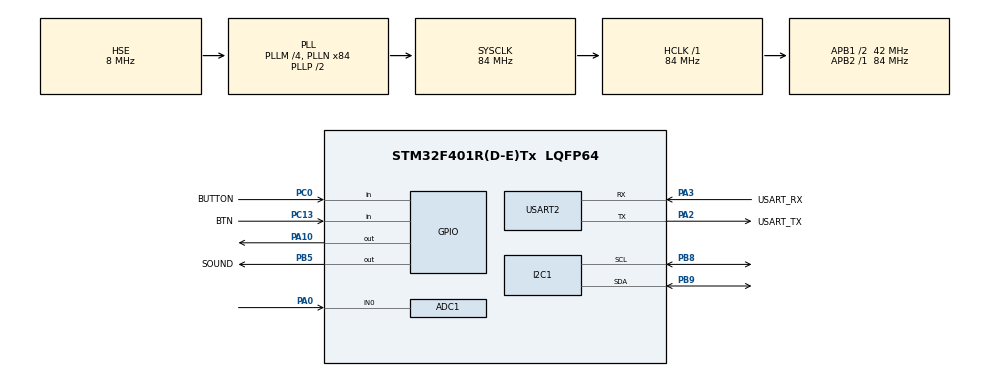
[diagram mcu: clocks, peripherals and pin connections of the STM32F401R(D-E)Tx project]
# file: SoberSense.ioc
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ADC1.ContinuousConvMode=ENABLE
ADC1.NbrOfConversionFlag=1
ADC1.master=1
Mcu.Family=STM32F4
Mcu.Name=STM32F401R(D-E)Tx
Mcu.Package=LQFP64
NVIC.PriorityGroup=NVIC_PRIORITYGROUP_0
PA0-WKUP.Signal=ADCx_IN0
PA10.Signal=GPIO_Output
PA13.GPIO_Label=TMS
PA13.Mode=Serial_Wire
PA13.Signal=SYS_JTMS-SWDIO
PA14.GPIO_Label=TCK
PA14.Mode=Serial_Wire
PA14.Signal=SYS_JTCK-SWCLK
PA2.GPIO_Label=USART_TX
PA2.GPIO_Mode=GPIO_MODE_AF_PP
PA2.GPIO_PuPd=GPIO_NOPULL
PA2.GPIO_Speed=GPIO_SPEED_FREQ_LOW
PA2.Mode=Asynchronous
PA2.Signal=USART2_TX
PA3.GPIO_Label=USART_RX
PA3.GPIO_Mode=GPIO_MODE_AF_PP
PA3.GPIO_PuPd=GPIO_NOPULL
PA3.GPIO_Speed=GPIO_SPEED_FREQ_LOW
PA3.Mode=Asynchronous
PA3.Signal=USART2_RX
PB3.GPIO_Label=SWO
PB3.Signal=SYS_JTDO-SWO
PB5.GPIO_Label=SOUND
PB5.Signal=GPIO_Output
PB8.Mode=I2C
PB8.Signal=I2C1_SCL
PB9.Mode=I2C
PB9.Signal=I2C1_SDA
PC0.GPIO_Label=BUTTON
PC0.Signal=GPIO_Input
PC13-ANTI_TAMP.GPIO_Label=BTN
PC13-ANTI_TAMP.GPIO_PuPd=GPIO_PULLDOWN
PC13-ANTI_TAMP.Signal=GPIO_Input
PC14-OSC32_IN.Signal=RCC_OSC32_IN
PC15-OSC32_OUT.Signal=RCC_OSC32_OUT
PH0\ -\ OSC_IN.Mode=HSE-External-Clock-Source
PH0\ -\ OSC_IN.Signal=RCC_OSC_IN
PH1\ -\ OSC_OUT.Mode=HSE-External-Clock-Source
PH1\ -\ OSC_OUT.Signal=RCC_OSC_OUT
ProjectManager.HeapSize=0x200
ProjectManager.StackSize=0x400
ProjectManager.TargetToolchain=STM32CubeIDE
RCC.48MHZClocksFreq_Value=24000000
RCC.AHBFreq_Value=84000000
RCC.APB1CLKDivider=RCC_HCLK_DIV2
RCC.APB1Freq_Value=42000000
RCC.APB1TimFreq_Value=84000000
RCC.APB2Freq_Value=84000000
RCC.APB2TimFreq_Value=84000000
RCC.CortexFreq_Value=84000000
RCC.HCLKFreq_Value=84000000
RCC.HSE_VALUE=8000000
RCC.HSI_VALUE=16000000
RCC.LSE_VALUE=32768
RCC.PLLM=4
RCC.PLLN=84
RCC.PLLQ=7
RCC.PLLSourceVirtual=RCC_PLLSOURCE_HSE
RCC.SYSCLKFreq_VALUE=84000000
RCC.SYSCLKSource=RCC_SYSCLKSOURCE_PLLCLK
RCC.VCOOutputFreq_Value=168000000
SH.ADCx_IN0.0=ADC1_IN0,IN0
USART2.VirtualMode=VM_ASYNC
board=NUCLEO-F401RE

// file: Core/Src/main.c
/* USER CODE BEGIN Header */
/**
  ******************************************************************************
  * @file           : main.c
  * @brief          : Main program body
  ******************************************************************************
  * @attention
  *
  * Copyright (c) 2023 STMicroelectronics.
  * All rights reserved.
  *
  * This software is licensed under terms that can be found in the LICENSE file
  * in the root directory of this software component.
  * If no LICENSE file comes with this software, it is provided AS-IS.
  *
  ******************************************************************************
  */
/* USER CODE END Header */
#include "main.h"

ADC_HandleTypeDef hadc1;

I2C_HandleTypeDef hi2c1;

UART_HandleTypeDef huart2;

void SystemClock_Config(void);
static void MX_GPIO_Init(void);
static void MX_USART2_UART_Init(void);
static void MX_ADC1_Init(void);
static void MX_I2C1_Init(void);

int main(void)
{
  /* USER CODE BEGIN 1 */
	uint16_t raw;
	float rs;
	float r0;
	float bac;
	char msg[10];
	char floatString[20];
  /* USER CODE END 1 */

  /* MCU Configuration--------------------------------------------------------*/

  /* Reset of all peripherals, Initializes the Flash interface and the Systick. */
  HAL_Init();

  /* Configure the system clock */
  SystemClock_Config();

  /* Initialize all configured peripherals */
  MX_GPIO_Init();
  MX_USART2_UART_Init();
  MX_ADC1_Init();
  MX_I2C1_Init();
  /* USER CODE BEGIN 2 */
  int pressed = 0;
  HD44780_Init(2);
  HD44780_Clear();
  HD44780_Backlight();
  char snum[5];
  for (int x = 20;x>=1; x--){
      itoa(x, snum, 10);
      HD44780_Clear();
      HD44780_SetCursor(0,0);
      HD44780_PrintStr("Startup: ");
      HD44780_PrintStr(snum);
      HAL_Delay (1000);
    }
  /* USER CODE END 2 */

  /* Infinite loop */
  /* USER CODE BEGIN WHILE */
  while (1)
  {
	 HAL_GPIO_WritePin(GPIOA,GPIO_PIN_10, GPIO_PIN_SET);
	 HAL_ADC_Start(&hadc1);
	 HAL_ADC_PollForConversion(&hadc1, HAL_MAX_DELAY);
	 raw = HAL_ADC_GetValue(&hadc1);
	 if(raw<630){
		 raw = 630;
	 }
	 r0 = 630;
	 float b = raw/r0;
	 HD44780_Clear();
	 HD44780_SetCursor(0,0);
	 HAL_GPIO_WritePin(GPIOA,GPIO_PIN_10, GPIO_PIN_RESET);
	 pressed = HAL_GPIO_ReadPin(BUTTON_GPIO_Port, BUTTON_Pin);
	 bac = (0.09*log(b))/5;
     HD44780_PrintStr("Awaiting... ");
     HAL_Delay(1000);
	 int n = 1;
	 if(pressed){
		 if(n){
			 HAL_GPIO_WritePin(SOUND_GPIO_Port,SOUND_Pin, 1);
			 HAL_Delay(1000);
			 HAL_GPIO_WritePin(SOUND_GPIO_Port,SOUND_Pin, 0);
			 HAL_Delay(1000);
			 char snum[5];
			 		  HD44780_PrintStr("Evaluating...");
			 		  for(int x = 5; x>=1; x--){
			 		      itoa(x, snum, 10);
			 		      HD44780_Clear();
			 		      HD44780_SetCursor(0,0);
			 		      HD44780_PrintStr(snum);
			 		      HAL_Delay (1000);
			 		    }
			 		  n = 0;
		 }

		 sprintf(floatString, "%.3f\r\n", bac);
		 sprintf(floatString, "BAC: %.3f", bac);
		 HD44780_PrintStr(floatString);
		 HAL_UART_Transmit(&huart2, (uint8_t*)floatString, strlen(floatString), HAL_MAX_DELAY);
		 HAL_Delay(5000);
	 }

	 //rs around 36.154 at default

	 //if(btn_state == GPIO_PIN_SET){

	}//else{
		 HD44780_Clear();
	//  Q

    /* USER CODE END WHILE */

  }

void SystemClock_Config(void)
{
  RCC_OscInitTypeDef RCC_OscInitStruct = {0};
  RCC_ClkInitTypeDef RCC_ClkInitStruct = {0};

  /** Configure the main internal regulator output voltage
  */
  __HAL_RCC_PWR_CLK_ENABLE();
  __HAL_PWR_VOLTAGESCALING_CONFIG(PWR_REGULATOR_VOLTAGE_SCALE2);

  /** Initializes the RCC Oscillators according to the specified parameters
  * in the RCC_OscInitTypeDef structure.
  */
  RCC_OscInitStruct.OscillatorType = RCC_OSCILLATORTYPE_HSE;
  RCC_OscInitStruct.HSEState = RCC_HSE_BYPASS;
  RCC_OscInitStruct.PLL.PLLState = RCC_PLL_ON;
  RCC_OscInitStruct.PLL.PLLSource = RCC_PLLSOURCE_HSE;
  RCC_OscInitStruct.PLL.PLLM = 4;
  RCC_OscInitStruct.PLL.PLLN = 84;
  RCC_OscInitStruct.PLL.PLLP = RCC_PLLP_DIV2;
  RCC_OscInitStruct.PLL.PLLQ = 7;
  if (HAL_RCC_OscConfig(&RCC_OscInitStruct) != HAL_OK)
  {
    Error_Handler();
  }

  /** Initializes the CPU, AHB and APB buses clocks
  */
  RCC_ClkInitStruct.ClockType = RCC_CLOCKTYPE_HCLK|RCC_CLOCKTYPE_SYSCLK
                              |RCC_CLOCKTYPE_PCLK1|RCC_CLOCKTYPE_PCLK2;
  RCC_ClkInitStruct.SYSCLKSource = RCC_SYSCLKSOURCE_PLLCLK;
  RCC_ClkInitStruct.AHBCLKDivider = RCC_SYSCLK_DIV1;
  RCC_ClkInitStruct.APB1CLKDivider = RCC_HCLK_DIV2;
  RCC_ClkInitStruct.APB2CLKDivider = RCC_HCLK_DIV1;

  if (HAL_RCC_ClockConfig(&RCC_ClkInitStruct, FLASH_LATENCY_2) != HAL_OK)
  {
    Error_Handler();
  }
}

static void MX_ADC1_Init(void)
{

  /** Configure the global features of the ADC (Clock, Resolution, Data Alignment and number of conversion)
  */
  hadc1.Instance = ADC1;
  hadc1.Init.ClockPrescaler = ADC_CLOCK_SYNC_PCLK_DIV4;
  hadc1.Init.Resolution = ADC_RESOLUTION_12B;
  hadc1.Init.ScanConvMode = DISABLE;
  hadc1.Init.ContinuousConvMode = ENABLE;
  hadc1.Init.DiscontinuousConvMode = DISABLE;
  hadc1.Init.ExternalTrigConvEdge = ADC_EXTERNALTRIGCONVEDGE_NONE;
  hadc1.Init.ExternalTrigConv = ADC_SOFTWARE_START;
  hadc1.Init.DataAlign = ADC_DATAALIGN_RIGHT;
  hadc1.Init.NbrOfConversion = 1;
  hadc1.Init.DMAContinuousRequests = DISABLE;
  hadc1.Init.EOCSelection = ADC_EOC_SINGLE_CONV;
  if (HAL_ADC_Init(&hadc1) != HAL_OK)
  {
    Error_Handler();
  }

}

static void MX_I2C1_Init(void)
{

  hi2c1.Instance = I2C1;
  hi2c1.Init.ClockSpeed = 100000;
  hi2c1.Init.DutyCycle = I2C_DUTYCYCLE_2;
  hi2c1.Init.OwnAddress1 = 0;
  hi2c1.Init.AddressingMode = I2C_ADDRESSINGMODE_7BIT;
  hi2c1.Init.DualAddressMode = I2C_DUALADDRESS_DISABLE;
  hi2c1.Init.OwnAddress2 = 0;
  hi2c1.Init.GeneralCallMode = I2C_GENERALCALL_DISABLE;
  hi2c1.Init.NoStretchMode = I2C_NOSTRETCH_DISABLE;
  if (HAL_I2C_Init(&hi2c1) != HAL_OK)
  {
    Error_Handler();
  }

}

static void MX_USART2_UART_Init(void)
{

  huart2.Instance = USART2;
  huart2.Init.BaudRate = 115200;
  huart2.Init.WordLength = UART_WORDLENGTH_8B;
  huart2.Init.StopBits = UART_STOPBITS_1;
  huart2.Init.Parity = UART_PARITY_NONE;
  huart2.Init.Mode = UART_MODE_TX_RX;
  huart2.Init.HwFlowCtl = UART_HWCONTROL_NONE;
  huart2.Init.OverSampling = UART_OVERSAMPLING_16;
  if (HAL_UART_Init(&huart2) != HAL_OK)
  {
    Error_Handler();
  }

}

static void MX_GPIO_Init(void)
{
  GPIO_InitTypeDef GPIO_InitStruct = {0};

  /* GPIO Ports Clock Enable */
  __HAL_RCC_GPIOC_CLK_ENABLE();
  __HAL_RCC_GPIOH_CLK_ENABLE();
  __HAL_RCC_GPIOA_CLK_ENABLE();
  __HAL_RCC_GPIOB_CLK_ENABLE();

  /*Configure GPIO pin Output Level */
  HAL_GPIO_WritePin(GPIOA, GPIO_PIN_10, GPIO_PIN_RESET);

  /*Configure GPIO pin Output Level */
  HAL_GPIO_WritePin(SOUND_GPIO_Port, SOUND_Pin, GPIO_PIN_RESET);

  /*Configure GPIO pin : BTN_Pin */
  GPIO_InitStruct.Pin = BTN_Pin;
  GPIO_InitStruct.Mode = GPIO_MODE_INPUT;
  GPIO_InitStruct.Pull = GPIO_PULLDOWN;
  HAL_GPIO_Init(BTN_GPIO_Port, &GPIO_InitStruct);

  /*Configure GPIO pin : BUTTON_Pin */
  GPIO_InitStruct.Pin = BUTTON_Pin;
  GPIO_InitStruct.Mode = GPIO_MODE_INPUT;
  GPIO_InitStruct.Pull = GPIO_NOPULL;
  HAL_GPIO_Init(BUTTON_GPIO_Port, &GPIO_InitStruct);

  /*Configure GPIO pin : PA10 */
  GPIO_InitStruct.Pin = GPIO_PIN_10;
  GPIO_InitStruct.Mode = GPIO_MODE_OUTPUT_PP;
  GPIO_InitStruct.Pull = GPIO_NOPULL;
  GPIO_InitStruct.Speed = GPIO_SPEED_FREQ_LOW;
  HAL_GPIO_Init(GPIOA, &GPIO_InitStruct);

  /*Configure GPIO pin : SOUND_Pin */
  GPIO_InitStruct.Pin = SOUND_Pin;
  GPIO_InitStruct.Mode = GPIO_MODE_OUTPUT_PP;
  GPIO_InitStruct.Pull = GPIO_NOPULL;
  GPIO_InitStruct.Speed = GPIO_SPEED_FREQ_LOW;
  HAL_GPIO_Init(SOUND_GPIO_Port, &GPIO_InitStruct);

}

void Error_Handler(void)
{
  __disable_irq();
  while (1)
  {
  }
}
